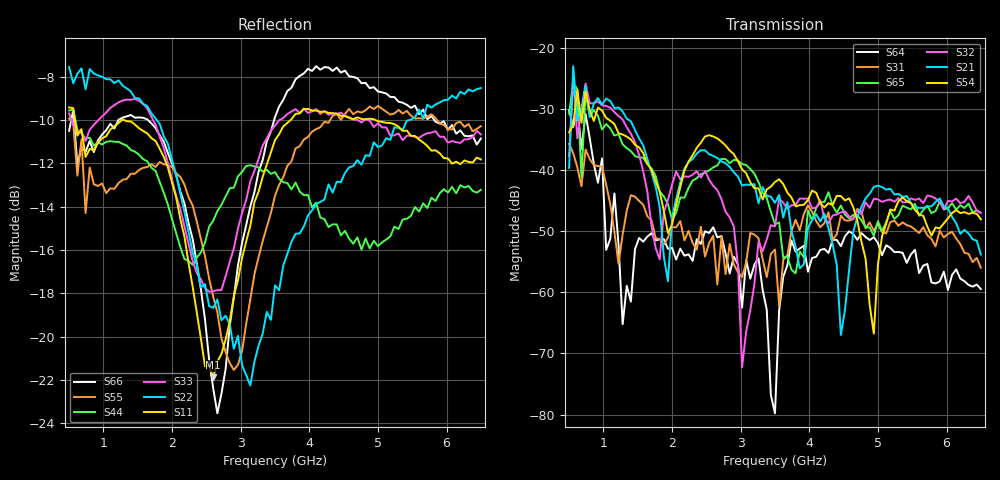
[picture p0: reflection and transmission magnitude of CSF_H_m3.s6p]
!Keysight Technologies,M9804A,MY58100912,A.14.10.03
!Date: Thursday, April 27, 2023 10:28:33
!Correction: S11(C  6-Port  )
!S12(C  6-Port  )
!S13(C  6-Port  )
!S14(C  6-Port  )
!S15(C  6-Port  )
!S16(C  6-Port  )
!S21(C  6-Port  )
!S22(C  6-Port  )
!S23(C  6-Port  )
!S24(C  6-Port  )
!S25(C  6-Port  )
!S26(C  6-Port  )
!S31(C  6-Port  )
!S32(C  6-Port  )
!S33(C  6-Port  )
!S34(C  6-Port  )
!S35(C  6-Port  )
!S36(C  6-Port  )
!S41(C  6-Port  )
!S42(C  6-Port  )
!S43(C  6-Port  )
!S44(C  6-Port  )
!S45(C  6-Port  )
!S46(C  6-Port  )
!S51(C  6-Port  )
!S52(C  6-Port  )
!S53(C  6-Port  )
!S54(C  6-Port  )
!S55(C  6-Port  )
!S56(C  6-Port  )
!S61(C  6-Port  )
!S62(C  6-Port  )
!S63(C  6-Port  )
!S64(C  6-Port  )
!S65(C  6-Port  )
!S66(C  6-Port  )
!S6P File: Measurement: :
# Hz S  RI  R 50
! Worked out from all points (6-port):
!   101 points, 500 MHz to 6.5 GHz, reference 50 ohm
!   strongest paths, dB at 500 MHz, 2 GHz, 3.5 GHz, 5 GHz, 6.5 GHz:
!     S54: -33.8, -48.9, -41.9, -55.5, -48.1
!     S21: -39.6, -47.9, -45.4, -42.5, -53.8
!     S32: -37.7, -42.4, -49.2, -44.8, -47.0
!     S65: -30.8, -48.2, -48.9, -48.3, -47.0
!     S31: -35.7, -49.3, -53.0, -48.8, -56.0
!     S64: -30.2, -52.7, -79.8, -51.9, -59.5
!   lowest |S11| = -21.9 dB at 2.6 GHz (marker M1), VSWR 1.18, Z = 42.8 + j1.97 ohm
!   |S11| at or under -10 dB: 586 MHz to 1.269 GHz (682.6 MHz wide, 73.6 % of centre); 1.302 GHz to 3.726 GHz (2.423 GHz wide, 96.4 % of centre); 4.966 GHz to end of sweep
